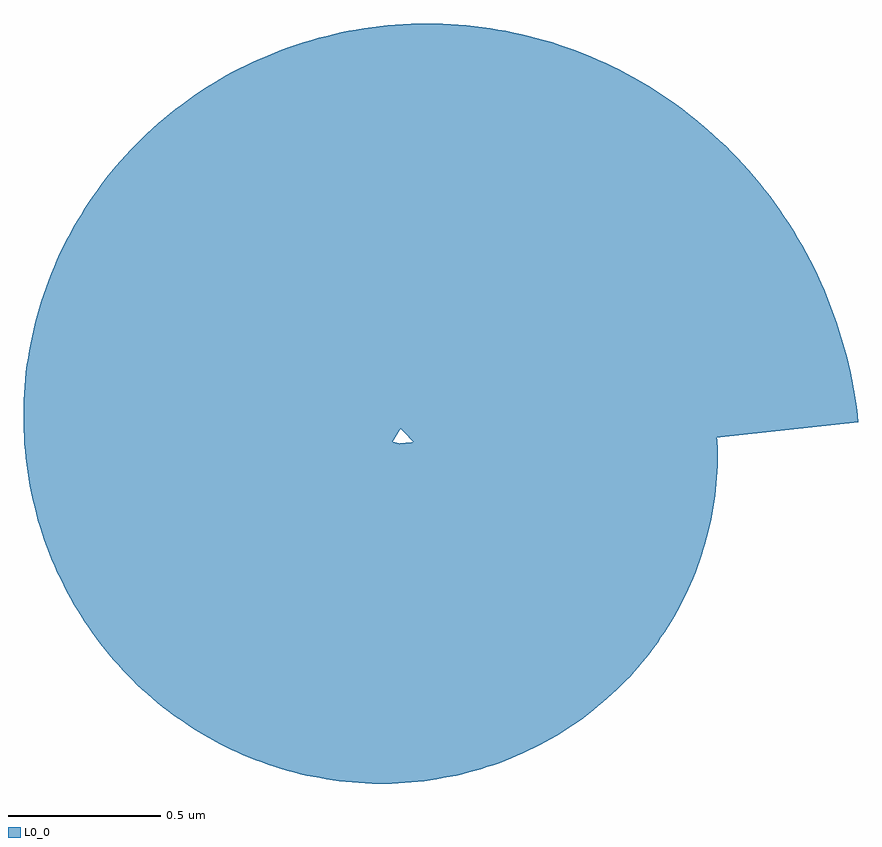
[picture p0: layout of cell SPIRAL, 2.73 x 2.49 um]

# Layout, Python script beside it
import gdspy
import numpy as np

def create_parametric_spiral():
    # Create a new library
    lib = gdspy.GdsLibrary()

    # Create a new cell
    cell = lib.new_cell('SPIRAL')

    # Define the parametric equations
    def r(t):
        return np.exp(-0.1 * t)

    def x(t):
        return r(t) * np.cos(t)

    def y(t):
        return r(t) * np.sin(t)

    # Generate points along the spiral
    t = np.linspace(0, 6*np.pi, 1000)
    points = np.column_stack((x(t), y(t)))

    # Create a polygon representing the spiral with width 1
    spiral = gdspy.PolyPath(points, 1, layer=0)

    # Add the spiral to the cell
    cell.add(spiral)

    # Save the design to a GDS file
    lib.write_gds('parametric_spiral.gds')

    print("Parametric spiral has been generated and saved as 'parametric_spiral.gds'")

# Run the function to create the spiral
create_parametric_spiral()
